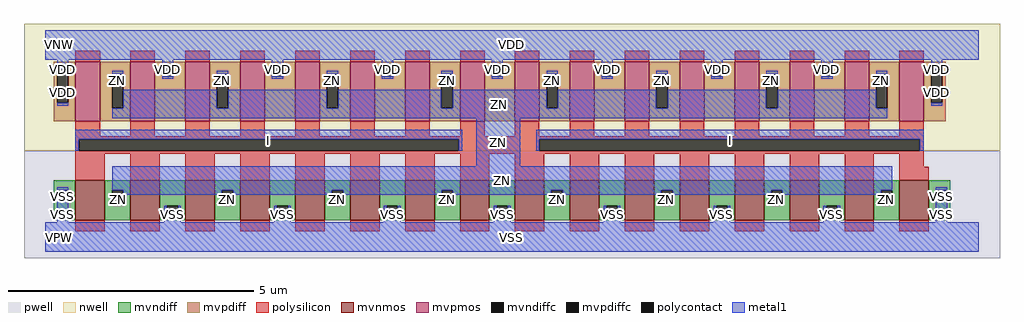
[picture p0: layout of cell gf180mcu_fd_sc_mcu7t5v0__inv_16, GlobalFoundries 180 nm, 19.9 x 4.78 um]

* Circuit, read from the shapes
.subckt gf180mcu_fd_sc_mcu7t5v0__inv_16 I ZN VDD VNW VPW VSS
XM1 ZN I VSS VPW nfet_06v0 w=0.82u l=0.6u m=16
XM2 ZN I VDD VNW pfet_06v0 w=1.22u l=0.5u m=16
.ends

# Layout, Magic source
magic
tech gf180mcuD
magscale 1 10
<< nwell >>
rect -86 352 3894 870
<< pwell >>
rect -86 -86 3894 352
<< mvnmos >>
rect 124 68 244 232
rect 348 68 468 232
rect 572 68 692 232
rect 796 68 916 232
rect 1020 68 1140 232
rect 1244 68 1364 232
rect 1468 68 1588 232
rect 1692 68 1812 232
rect 1916 68 2036 232
rect 2140 68 2260 232
rect 2364 68 2484 232
rect 2588 68 2708 232
rect 2812 68 2932 232
rect 3036 68 3156 232
rect 3260 68 3380 232
rect 3484 68 3604 232
<< mvpmos >>
rect 124 472 224 716
rect 348 472 448 716
rect 572 472 672 716
rect 796 472 896 716
rect 1020 472 1120 716
rect 1244 472 1344 716
rect 1468 472 1568 716
rect 1692 472 1792 716
rect 1916 472 2016 716
rect 2140 472 2240 716
rect 2364 472 2464 716
rect 2588 472 2688 716
rect 2812 472 2912 716
rect 3036 472 3136 716
rect 3260 472 3360 716
rect 3484 472 3584 716
<< mvndiff >>
rect 36 192 124 232
rect 36 146 49 192
rect 95 146 124 192
rect 36 68 124 146
rect 244 192 348 232
rect 244 146 273 192
rect 319 146 348 192
rect 244 68 348 146
rect 468 127 572 232
rect 468 81 497 127
rect 543 81 572 127
rect 468 68 572 81
rect 692 192 796 232
rect 692 146 721 192
rect 767 146 796 192
rect 692 68 796 146
rect 916 127 1020 232
rect 916 81 945 127
rect 991 81 1020 127
rect 916 68 1020 81
rect 1140 192 1244 232
rect 1140 146 1169 192
rect 1215 146 1244 192
rect 1140 68 1244 146
rect 1364 127 1468 232
rect 1364 81 1393 127
rect 1439 81 1468 127
rect 1364 68 1468 81
rect 1588 192 1692 232
rect 1588 146 1617 192
rect 1663 146 1692 192
rect 1588 68 1692 146
rect 1812 127 1916 232
rect 1812 81 1841 127
rect 1887 81 1916 127
rect 1812 68 1916 81
rect 2036 192 2140 232
rect 2036 146 2065 192
rect 2111 146 2140 192
rect 2036 68 2140 146
rect 2260 127 2364 232
rect 2260 81 2289 127
rect 2335 81 2364 127
rect 2260 68 2364 81
rect 2484 192 2588 232
rect 2484 146 2513 192
rect 2559 146 2588 192
rect 2484 68 2588 146
rect 2708 127 2812 232
rect 2708 81 2737 127
rect 2783 81 2812 127
rect 2708 68 2812 81
rect 2932 192 3036 232
rect 2932 146 2961 192
rect 3007 146 3036 192
rect 2932 68 3036 146
rect 3156 127 3260 232
rect 3156 81 3185 127
rect 3231 81 3260 127
rect 3156 68 3260 81
rect 3380 192 3484 232
rect 3380 146 3409 192
rect 3455 146 3484 192
rect 3380 68 3484 146
rect 3604 192 3692 232
rect 3604 146 3633 192
rect 3679 146 3692 192
rect 3604 68 3692 146
<< mvpdiff >>
rect 36 687 124 716
rect 36 547 49 687
rect 95 547 124 687
rect 36 472 124 547
rect 224 665 348 716
rect 224 525 273 665
rect 319 525 348 665
rect 224 472 348 525
rect 448 703 572 716
rect 448 657 477 703
rect 523 657 572 703
rect 448 472 572 657
rect 672 665 796 716
rect 672 525 701 665
rect 747 525 796 665
rect 672 472 796 525
rect 896 703 1020 716
rect 896 657 925 703
rect 971 657 1020 703
rect 896 472 1020 657
rect 1120 665 1244 716
rect 1120 525 1149 665
rect 1195 525 1244 665
rect 1120 472 1244 525
rect 1344 703 1468 716
rect 1344 657 1373 703
rect 1419 657 1468 703
rect 1344 472 1468 657
rect 1568 665 1692 716
rect 1568 525 1616 665
rect 1662 525 1692 665
rect 1568 472 1692 525
rect 1792 703 1916 716
rect 1792 657 1821 703
rect 1867 657 1916 703
rect 1792 472 1916 657
rect 2016 665 2140 716
rect 2016 525 2045 665
rect 2091 525 2140 665
rect 2016 472 2140 525
rect 2240 703 2364 716
rect 2240 657 2269 703
rect 2315 657 2364 703
rect 2240 472 2364 657
rect 2464 665 2588 716
rect 2464 525 2493 665
rect 2539 525 2588 665
rect 2464 472 2588 525
rect 2688 703 2812 716
rect 2688 657 2717 703
rect 2763 657 2812 703
rect 2688 472 2812 657
rect 2912 665 3036 716
rect 2912 525 2941 665
rect 2987 525 3036 665
rect 2912 472 3036 525
rect 3136 703 3260 716
rect 3136 657 3165 703
rect 3211 657 3260 703
rect 3136 472 3260 657
rect 3360 665 3484 716
rect 3360 525 3389 665
rect 3435 525 3484 665
rect 3360 472 3484 525
rect 3584 687 3672 716
rect 3584 547 3613 687
rect 3659 547 3672 687
rect 3584 472 3672 547
<< mvndiffc >>
rect 49 146 95 192
rect 273 146 319 192
rect 497 81 543 127
rect 721 146 767 192
rect 945 81 991 127
rect 1169 146 1215 192
rect 1393 81 1439 127
rect 1617 146 1663 192
rect 1841 81 1887 127
rect 2065 146 2111 192
rect 2289 81 2335 127
rect 2513 146 2559 192
rect 2737 81 2783 127
rect 2961 146 3007 192
rect 3185 81 3231 127
rect 3409 146 3455 192
rect 3633 146 3679 192
<< mvpdiffc >>
rect 49 547 95 687
rect 273 525 319 665
rect 477 657 523 703
rect 701 525 747 665
rect 925 657 971 703
rect 1149 525 1195 665
rect 1373 657 1419 703
rect 1616 525 1662 665
rect 1821 657 1867 703
rect 2045 525 2091 665
rect 2269 657 2315 703
rect 2493 525 2539 665
rect 2717 657 2763 703
rect 2941 525 2987 665
rect 3165 657 3211 703
rect 3389 525 3435 665
rect 3613 547 3659 687
<< polysilicon >>
rect 124 716 224 760
rect 348 716 448 760
rect 572 716 672 760
rect 796 716 896 760
rect 1020 716 1120 760
rect 1244 716 1344 760
rect 1468 716 1568 760
rect 1692 716 1792 760
rect 1916 716 2016 760
rect 2140 716 2240 760
rect 2364 716 2464 760
rect 2588 716 2688 760
rect 2812 716 2912 760
rect 3036 716 3136 760
rect 3260 716 3360 760
rect 3484 716 3584 760
rect 124 412 224 472
rect 348 412 448 472
rect 572 412 672 472
rect 796 412 896 472
rect 1020 412 1120 472
rect 1244 412 1344 472
rect 1468 412 1568 472
rect 1692 412 1792 472
rect 1916 412 2016 472
rect 2140 412 2240 472
rect 2364 412 2464 472
rect 2588 412 2688 472
rect 2812 412 2912 472
rect 3036 412 3136 472
rect 3260 412 3360 472
rect 3484 412 3584 472
rect 124 399 3584 412
rect 124 353 137 399
rect 1687 353 2016 399
rect 3566 353 3584 399
rect 124 340 3584 353
rect 124 232 244 340
rect 348 232 468 340
rect 572 232 692 340
rect 796 232 916 340
rect 1020 232 1140 340
rect 1244 232 1364 340
rect 1468 232 1588 340
rect 1692 232 1812 340
rect 1916 232 2036 340
rect 2140 232 2260 340
rect 2364 232 2484 340
rect 2588 232 2708 340
rect 2812 232 2932 340
rect 3036 232 3156 340
rect 3260 232 3380 340
rect 3484 288 3584 340
rect 3484 232 3604 288
rect 124 24 244 68
rect 348 24 468 68
rect 572 24 692 68
rect 796 24 916 68
rect 1020 24 1140 68
rect 1244 24 1364 68
rect 1468 24 1588 68
rect 1692 24 1812 68
rect 1916 24 2036 68
rect 2140 24 2260 68
rect 2364 24 2484 68
rect 2588 24 2708 68
rect 2812 24 2932 68
rect 3036 24 3156 68
rect 3260 24 3380 68
rect 3484 24 3604 68
<< polycontact >>
rect 137 353 1687 399
rect 2016 353 3566 399
<< metal1 >>
rect 0 724 3808 844
rect 49 687 95 724
rect 477 703 523 724
rect 49 536 95 547
rect 273 665 319 678
rect 925 703 971 724
rect 477 646 523 657
rect 701 665 747 678
rect 319 525 701 600
rect 1373 703 1419 724
rect 925 646 971 657
rect 1149 665 1195 678
rect 747 525 1149 600
rect 1821 703 1867 724
rect 1373 646 1419 657
rect 1616 665 1662 678
rect 1195 525 1616 600
rect 2269 703 2315 724
rect 1821 646 1867 657
rect 2045 665 2091 678
rect 1662 525 2045 600
rect 2717 703 2763 724
rect 2269 646 2315 657
rect 2493 665 2539 678
rect 2091 525 2493 600
rect 3165 703 3211 724
rect 2717 646 2763 657
rect 2941 665 2987 678
rect 2539 525 2941 600
rect 3613 687 3659 724
rect 3165 646 3211 657
rect 3389 665 3435 678
rect 2987 525 3389 600
rect 3613 536 3659 547
rect 273 484 3435 525
rect 124 399 1702 438
rect 124 353 137 399
rect 1687 353 1702 399
rect 1758 289 1938 484
rect 2003 399 3584 438
rect 2003 353 2016 399
rect 3566 353 3584 399
rect 49 192 95 203
rect 49 60 95 146
rect 273 192 3455 289
rect 319 173 721 192
rect 319 146 325 173
rect 273 135 325 146
rect 767 173 1169 192
rect 721 135 767 146
rect 1215 173 1617 192
rect 1169 135 1215 146
rect 1663 173 2065 192
rect 1617 135 1663 146
rect 2111 173 2513 192
rect 2065 135 2111 146
rect 2559 173 2961 192
rect 2513 135 2559 146
rect 3007 173 3409 192
rect 2961 135 3007 146
rect 3409 135 3455 146
rect 3633 192 3679 203
rect 486 81 497 127
rect 543 81 554 127
rect 486 60 554 81
rect 934 81 945 127
rect 991 81 1002 127
rect 934 60 1002 81
rect 1382 81 1393 127
rect 1439 81 1450 127
rect 1382 60 1450 81
rect 1830 81 1841 127
rect 1887 81 1898 127
rect 1830 60 1898 81
rect 2278 81 2289 127
rect 2335 81 2346 127
rect 2278 60 2346 81
rect 2726 81 2737 127
rect 2783 81 2794 127
rect 2726 60 2794 81
rect 3174 81 3185 127
rect 3231 81 3242 127
rect 3174 60 3242 81
rect 3633 60 3679 146
rect 0 -60 3808 60
<< labels >>
flabel metal1 s 3633 127 3679 203 0 FreeSans 400 0 0 0 VSS
port 6 nsew ground bidirectional abutment
flabel metal1 s 3389 600 3435 678 0 FreeSans 400 0 0 0 ZN
port 2 nsew default output
flabel metal1 s 124 353 1702 438 0 FreeSans 400 0 0 0 I
port 1 nsew default input
flabel metal1 s 0 724 3808 844 0 FreeSans 400 0 0 0 VDD
port 3 nsew power bidirectional abutment
flabel nwell s 10 734 110 834 0 FreeSans 400 0 0 0 VNW
port 4 nsew power bidirectional
flabel pwell s 10 -50 110 50 0 FreeSans 400 0 0 0 VPW
port 5 nsew ground bidirectional
rlabel metal1 s 2003 353 3584 438 1 I
port 1 nsew default input
rlabel metal1 s 2941 600 2987 678 1 ZN
port 2 nsew default output
rlabel metal1 s 2493 600 2539 678 1 ZN
port 2 nsew default output
rlabel metal1 s 2045 600 2091 678 1 ZN
port 2 nsew default output
rlabel metal1 s 1616 600 1662 678 1 ZN
port 2 nsew default output
rlabel metal1 s 1149 600 1195 678 1 ZN
port 2 nsew default output
rlabel metal1 s 701 600 747 678 1 ZN
port 2 nsew default output
rlabel metal1 s 273 600 319 678 1 ZN
port 2 nsew default output
rlabel metal1 s 273 484 3435 600 1 ZN
port 2 nsew default output
rlabel metal1 s 1758 289 1938 484 1 ZN
port 2 nsew default output
rlabel metal1 s 273 173 3455 289 1 ZN
port 2 nsew default output
rlabel metal1 s 3409 135 3455 173 1 ZN
port 2 nsew default output
rlabel metal1 s 2961 135 3007 173 1 ZN
port 2 nsew default output
rlabel metal1 s 2513 135 2559 173 1 ZN
port 2 nsew default output
rlabel metal1 s 2065 135 2111 173 1 ZN
port 2 nsew default output
rlabel metal1 s 1617 135 1663 173 1 ZN
port 2 nsew default output
rlabel metal1 s 1169 135 1215 173 1 ZN
port 2 nsew default output
rlabel metal1 s 721 135 767 173 1 ZN
port 2 nsew default output
rlabel metal1 s 273 135 325 173 1 ZN
port 2 nsew default output
rlabel metal1 s 3613 646 3659 724 1 VDD
port 3 nsew power bidirectional abutment
rlabel metal1 s 3165 646 3211 724 1 VDD
port 3 nsew power bidirectional abutment
rlabel metal1 s 2717 646 2763 724 1 VDD
port 3 nsew power bidirectional abutment
rlabel metal1 s 2269 646 2315 724 1 VDD
port 3 nsew power bidirectional abutment
rlabel metal1 s 1821 646 1867 724 1 VDD
port 3 nsew power bidirectional abutment
rlabel metal1 s 1373 646 1419 724 1 VDD
port 3 nsew power bidirectional abutment
rlabel metal1 s 925 646 971 724 1 VDD
port 3 nsew power bidirectional abutment
rlabel metal1 s 477 646 523 724 1 VDD
port 3 nsew power bidirectional abutment
rlabel metal1 s 49 646 95 724 1 VDD
port 3 nsew power bidirectional abutment
rlabel metal1 s 3613 536 3659 646 1 VDD
port 3 nsew power bidirectional abutment
rlabel metal1 s 49 536 95 646 1 VDD
port 3 nsew power bidirectional abutment
rlabel metal1 s 49 127 95 203 1 VSS
port 6 nsew ground bidirectional abutment
rlabel metal1 s 3633 60 3679 127 1 VSS
port 6 nsew ground bidirectional abutment
rlabel metal1 s 3174 60 3242 127 1 VSS
port 6 nsew ground bidirectional abutment
rlabel metal1 s 2726 60 2794 127 1 VSS
port 6 nsew ground bidirectional abutment
rlabel metal1 s 2278 60 2346 127 1 VSS
port 6 nsew ground bidirectional abutment
rlabel metal1 s 1830 60 1898 127 1 VSS
port 6 nsew ground bidirectional abutment
rlabel metal1 s 1382 60 1450 127 1 VSS
port 6 nsew ground bidirectional abutment
rlabel metal1 s 934 60 1002 127 1 VSS
port 6 nsew ground bidirectional abutment
rlabel metal1 s 486 60 554 127 1 VSS
port 6 nsew ground bidirectional abutment
rlabel metal1 s 49 60 95 127 1 VSS
port 6 nsew ground bidirectional abutment
rlabel metal1 s 0 -60 3808 60 1 VSS
port 6 nsew ground bidirectional abutment
<< properties >>
string FIXED_BBOX 0 0 3808 784
string GDS_END 506636
string GDS_FILE $PDKPATH/libs.ref/gf180mcu_fd_sc_mcu7t5v0/gds/gf180mcu_fd_sc_mcu7t5v0.gds
string GDS_START 497912
string LEFclass core
string LEFsite GF018hv5v_mcu_sc7
string LEFsymmetry X Y
<< end >>
